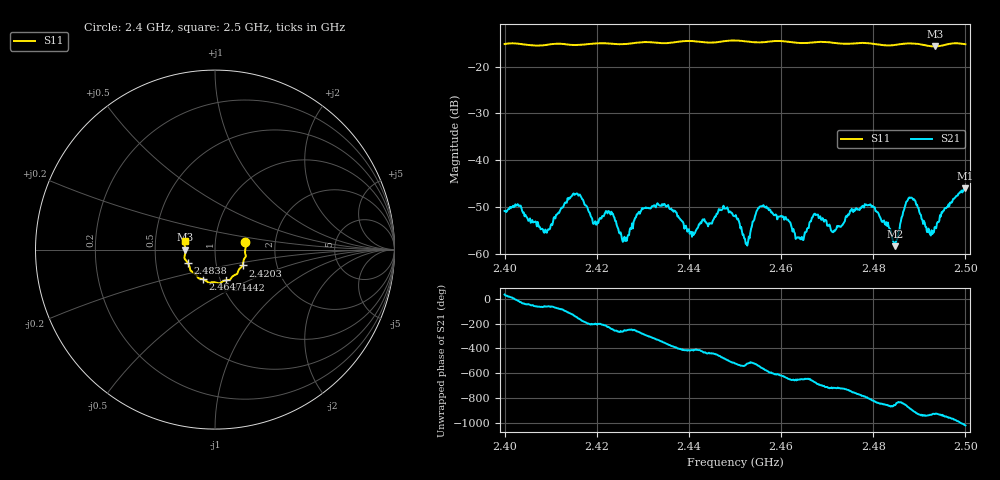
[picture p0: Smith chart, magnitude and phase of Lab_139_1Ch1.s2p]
# Hz S RI R 50
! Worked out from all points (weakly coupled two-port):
!   601 points, 2.4 GHz to 2.5 GHz, reference 50 ohm
!   highest |S21| = -46.02 dB at 2.5 GHz (marker M1); lowest = -58.3 dB at 2.4847 GHz (marker M2)
!   lowest |S11| = -15.7 dB at 2.4933 GHz (marker M3), VSWR 1.39, Z = 35.9 - j0.0658 ohm
!   |S11| at or under -10 dB: start of sweep to end of sweep
!   S12 and S22 are empty: the file has one direction only
!   S11 on the Smith chart (normalised r, x): 2.4 GHz: 1.40, +0.12; 2.4203 GHz: 1.34, -0.24; 2.4442 GHz: 1.06, -0.37; 2.4647 GHz: 0.83, -0.29; 2.4838 GHz: 0.73, -0.11; 2.5 GHz: 0.71, +0.07
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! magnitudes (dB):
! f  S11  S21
! 2.4 GHz  -15.2  -50.8
! 2.409 GHz  -15.4  -55.3
! 2.4167 GHz  -15.3  -48.0
! 2.4203 GHz  -15.0  -53.4
! 2.423 GHz  -15.1  -51.6
! 2.426 GHz  -15.2  -56.3
! 2.4333 GHz  -14.9  -49.4
! 2.4407 GHz  -14.5  -56.3
! 2.4442 GHz  -14.9  -54.1
! 2.45 GHz  -14.4  -52.0
! 2.4525 GHz  -14.6  -57.8
! 2.4558 GHz  -14.8  -49.8
! 2.4647 GHz  -15.0  -57.0
! 2.4667 GHz  -14.8  -52.3
! 2.4713 GHz  -14.9  -55.4
! 2.479 GHz  -15.0  -49.5
! 2.4833 GHz  -15.5  -54.1
! 2.4838 GHz  -15.5  -55.0
! 2.4847 GHz  -15.4  -58.3
! 2.488 GHz  -15.0  -48.1
! 2.4933 GHz  -15.7  -54.3
! 2.5 GHz  -15.2  -46.0
